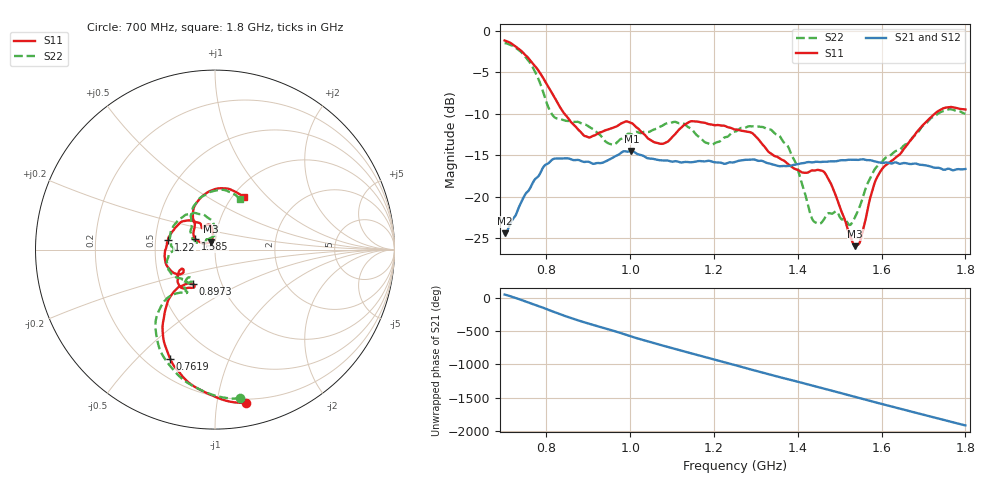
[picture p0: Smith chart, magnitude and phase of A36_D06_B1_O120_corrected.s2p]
! Created with skrf 1.9.0 (http://scikit-rf.org).
# Hz S RI R 50.0
!freq ReS11 ImS11 ReS21 ImS21 ReS12 ImS12 ReS22 ImS22
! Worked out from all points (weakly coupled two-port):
!   1601 points, 700 MHz to 1.8 GHz, reference 50 ohm
!   highest |S21| = -14.49 dB at 1.002 GHz (marker M1); lowest = -24.4 dB at 700.7 MHz (marker M2)
!   lowest |S11| = -26.0 dB at 1.537 GHz (marker M3), VSWR 1.11, Z = 47.6 + j4.31 ohm
!   |S11| at or under -10 dB: 842.7 MHz to 1.727 GHz (884.3 MHz wide, 68.8 % of centre)
!   |S22| runs from -23.4 to -1.5 dB; largest |S21 - S12| = 0.0035
!   S11 on the Smith chart (normalised r, x): 700 MHz: 0.17, -1.21; 761.9 MHz: 0.29, -0.63; 897.3 MHz: 0.73, -0.30; 1.22 GHz: 0.58, +0.07; 1.585 GHz: 0.80, +0.10; 1.8 GHz: 1.12, +0.74
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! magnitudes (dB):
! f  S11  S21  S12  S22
! 700 MHz  -1.2  -24.4  -24.2  -1.5
! 700.7 MHz  -1.2  -24.4  -24.1  -1.5
! 761.9 MHz  -3.6  -18.9  -18.8  -4.0
! 816.2 MHz  -7.8  -15.5  -15.6  -10.3
! 883.6 MHz  -12.3  -15.7  -15.6  -11.2
! 897.3 MHz  -12.8  -15.8  -15.8  -11.4
! 955.1 MHz  -11.8  -15.4  -15.4  -13.7
! 1.002 GHz  -11.1  -14.5  -14.6  -12.5
! 1.067 GHz  -13.6  -15.6  -15.5  -11.7
! 1.144 GHz  -10.9  -15.9  -15.9  -11.8
! 1.22 GHz  -11.4  -16.0  -16.0  -13.1
! 1.25 GHz  -11.9  -15.8  -15.7  -12.2
! 1.357 GHz  -15.4  -16.3  -16.3  -12.7
! 1.395 GHz  -16.7  -16.1  -16.1  -16.0
! 1.434 GHz  -16.8  -15.9  -15.8  -22.6
! 1.471 GHz  -17.7  -15.8  -15.8  -22.1
! 1.537 GHz  -26.0  -15.6  -15.6  -22.4
! 1.55 GHz  -25.2  -15.5  -15.5  -20.9
! 1.585 GHz  -18.1  -15.8  -15.8  -16.6
! 1.617 GHz  -15.9  -15.9  -15.9  -15.1
! 1.733 GHz  -9.7  -16.5  -16.5  -10.1
! 1.8 GHz  -9.5  -16.7  -16.7  -10.0
